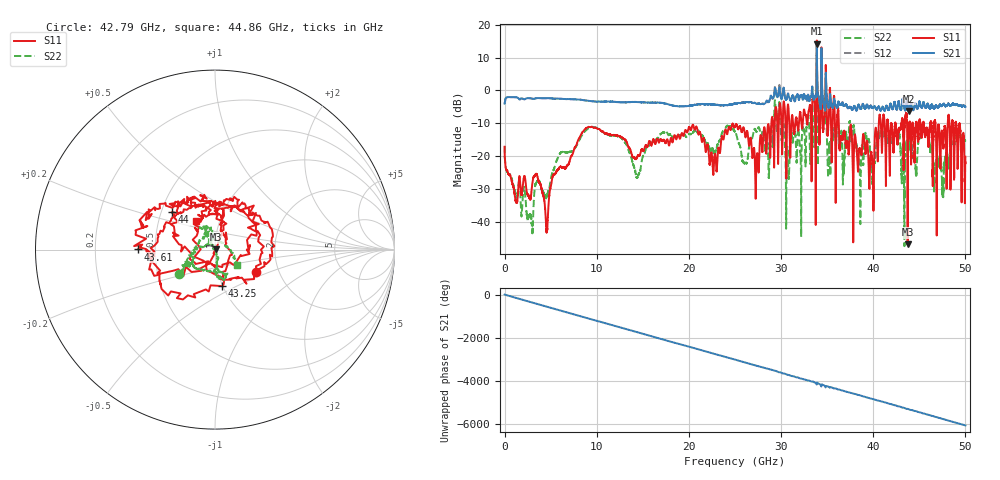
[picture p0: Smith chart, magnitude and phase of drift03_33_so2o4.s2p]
!Created with skrf (http://scikit-rf.org).
# Hz S RI R 50.0
!freq ReS11 ImS11 ReS21 ImS21 ReS12 ImS12 ReS22 ImS22
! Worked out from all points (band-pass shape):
!   10001 points, 300 kHz to 50 GHz, reference 50 ohm
!   highest |S21| = 14.26 dB at 33.88 GHz (marker M1); lowest = -6.2 dB at 43.92 GHz (marker M2)
!   |S21| within 3 dB of the highest: 33.86927 GHz to 33.88883 GHz (19.56 MHz wide, 0.0577 % of centre); 34.37705 GHz to 34.39007 GHz (13.02 MHz wide, 0.0379 % of centre)
!   lowest |S11| = -46.7 dB at 43.74 GHz (marker M3), VSWR 1.01, Z = 50.4 + j0.195 ohm
!   |S11| at or under -10 dB: start of sweep to 28.94 GHz; 36.27 GHz to 40.61 GHz (4.34 GHz wide, 11.3 % of centre); 46.75 GHz to 48.08 GHz (1.329 GHz wide, 2.8 % of centre) (the widest 3 of 61)
!   |S22| runs from -47.3 to 10.9 dB; largest |S21 - S12| = 0.81
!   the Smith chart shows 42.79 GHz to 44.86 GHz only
!   S11 on the Smith chart (normalised r, x): 42.79 GHz: 1.53, -0.41; 43.25 GHz: 0.99, -0.42; 43.61 GHz: 0.40, +0.00; 44 GHz: 0.57, +0.26; 44.86 GHz: 0.77, +0.26
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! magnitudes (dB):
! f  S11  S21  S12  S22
! 300 kHz  -17.1  -4.0  -4.0  -16.9
! 2.83 GHz  -32.5  -2.4  -2.4  -38.1
! 4.555 GHz  -43.2  -2.3  -2.3  -32.1
! 8.335 GHz  -13.1  -2.8  -2.8  -13.9
! 14.44 GHz  -19.9  -3.5  -3.5  -26.3
! 16.67 GHz  -15.4  -3.7  -3.7  -14.3
! 25 GHz  -11.0  -4.0  -4.0  -12.5
! 27.39 GHz  -19.4  -4.1  -4.1  -12.4
! 29.6 GHz  -10.4  -2.0  -2.1  -11.7
! 30.7 GHz  -5.5  -1.4  -1.4  -17.2
! 33.34 GHz  -13.8  -0.5  -0.6  -7.2
! 33.88 GHz  15.2  14.3  13.9  10.8
! 39.81 GHz  -19.1  -4.9  -4.8  -23.4
! 41.67 GHz  -12.3  -5.9  -5.9  -15.0
! 42.79 GHz  -11.7  -3.5  -3.5  -12.3
! 43.25 GHz  -13.7  -2.9  -2.9  -16.4
! 43.61 GHz  -7.4  -3.9  -3.9  -16.2
! 43.74 GHz  -46.7  -4.1  -4.1  -17.3
! 43.92 GHz  -9.9  -6.2  -6.0  -16.4
! 44 GHz  -9.9  -5.5  -5.4  -15.7
! 44.86 GHz  -14.3  -5.3  -5.2  -16.5
! 50 GHz  -20.1  -4.9  -4.9  -15.2
